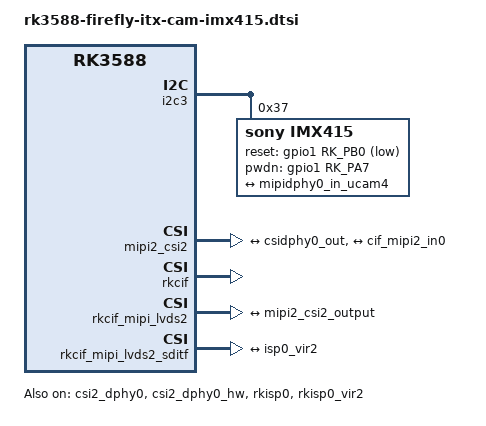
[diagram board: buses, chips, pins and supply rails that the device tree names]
// SPDX-License-Identifier: (GPL-2.0+ OR MIT)
/*
 * Copyright (c) 2021 Rockchip Electronics Co., Ltd.
 *
 */

/ {
	cam_ircut0: cam_ircut {
		status = "disabled";
		compatible = "rockchip,ircut";
		ircut-open-gpios = <&gpio4 RK_PA6 GPIO_ACTIVE_HIGH>;
		ircut-close-gpios  = <&gpio4 RK_PA7 GPIO_ACTIVE_HIGH>;
		rockchip,camera-module-index = <0>;
		rockchip,camera-module-facing = "back";
	};
};

&i2c3 {
	status = "okay";

        imx415: imx415@37{
               compatible = "sony,imx415";
               reg = <0x37>;
               clocks = <&cru CLK_MIPI_CAMARAOUT_M3>;
               clock-names = "xvclk";
               pinctrl-names = "default";
               pinctrl-0 = <&mipim0_camera3_clk>;
               power-domains = <&power RK3588_PD_VI>;

               reset-gpios = <&gpio1 RK_PB0 GPIO_ACTIVE_LOW>;
               pwdn-gpios = <&gpio1 RK_PA7 GPIO_ACTIVE_HIGH>;

	       #define FF_COMPATIBLE
               firefly,clkout-enabled-index = <0>;
               rockchip,camera-module-index = <0>;
               rockchip,camera-module-facing = "back";
               rockchip,camera-module-name = "CMK-OT2022-PX1";
               rockchip,camera-module-lens-name = "IR0147-50IRC-8M-F20";
               port {
                        imx415_out0: endpoint {
                               remote-endpoint = <&mipidphy0_in_ucam4>;
                               data-lanes = <1 2 3 4>;
                       };
               };
       };

};

&csi2_dphy0 {
	status = "okay";
#ifdef FF_COMPATIBLE
	firefly-compatible;
#endif
	ports {
		#address-cells = <1>;
		#size-cells = <0>;
		port@0 {
			reg = <0>;
			#address-cells = <1>;
			#size-cells = <0>;

			mipidphy0_in_ucam4: endpoint@4 {
				reg = <4>;
				remote-endpoint = <&imx415_out0>;
				data-lanes = <1 2 3 4>;
			};
		};
		port@1 {
			reg = <1>;
			#address-cells = <1>;
			#size-cells = <0>;

			csidphy0_out: endpoint@0 {
				reg = <0>;
				remote-endpoint = <&mipi2_csi2_input0>;
			};
		};
	};
};

&csi2_dphy0_hw {
	status = "okay";
};

&mipi2_csi2 {
	status = "okay";
#ifdef FF_COMPATIBLE
	firefly-compatible;
#endif
	ports {
		#address-cells = <1>;
		#size-cells = <0>;

		port@0 {
			reg = <0>;
			#address-cells = <1>;
			#size-cells = <0>;

			mipi2_csi2_input0: endpoint@0 {
				reg = <0>;
				remote-endpoint = <&csidphy0_out>;
			};
		};

		port@1 {
			reg = <1>;
			#address-cells = <1>;
			#size-cells = <0>;

			mipi2_csi2_output: endpoint@0 {
				reg = <0>;
				remote-endpoint = <&cif_mipi2_in0>;
			};
		};
	};
};

&pinctrl {
	cam {
		mipidphy0_pwr: mipidphy0-pwr {
			rockchip,pins =
				/* camera power en */
				<1 RK_PB1 RK_FUNC_GPIO &pcfg_pull_none>;
		};
	};
};

&rkcif {
	status = "okay";
};

&rkcif_mipi_lvds2 {
	status = "okay";

	port {
		cif_mipi_in2: endpoint {
			remote-endpoint = <&mipi2_csi2_output>;
		};
	};
};

&rkcif_mipi_lvds2_sditf {
	status = "okay";

	port {
		mipi2_lvds_sditf: endpoint {
			remote-endpoint = <&isp0_vir2>;
		};
	};
};

&rkcif_mmu {
	status = "okay";
};

&rkisp0 {
	status = "okay";
};

&isp0_mmu {
	status = "okay";
};

&rkisp0_vir2 {
	status = "okay";

	port {
		#address-cells = <1>;
		#size-cells = <0>;

		isp0_vir2: endpoint@0 {
			reg = <0>;
			remote-endpoint = <&mipi2_lvds_sditf>;
		};
	};
};

